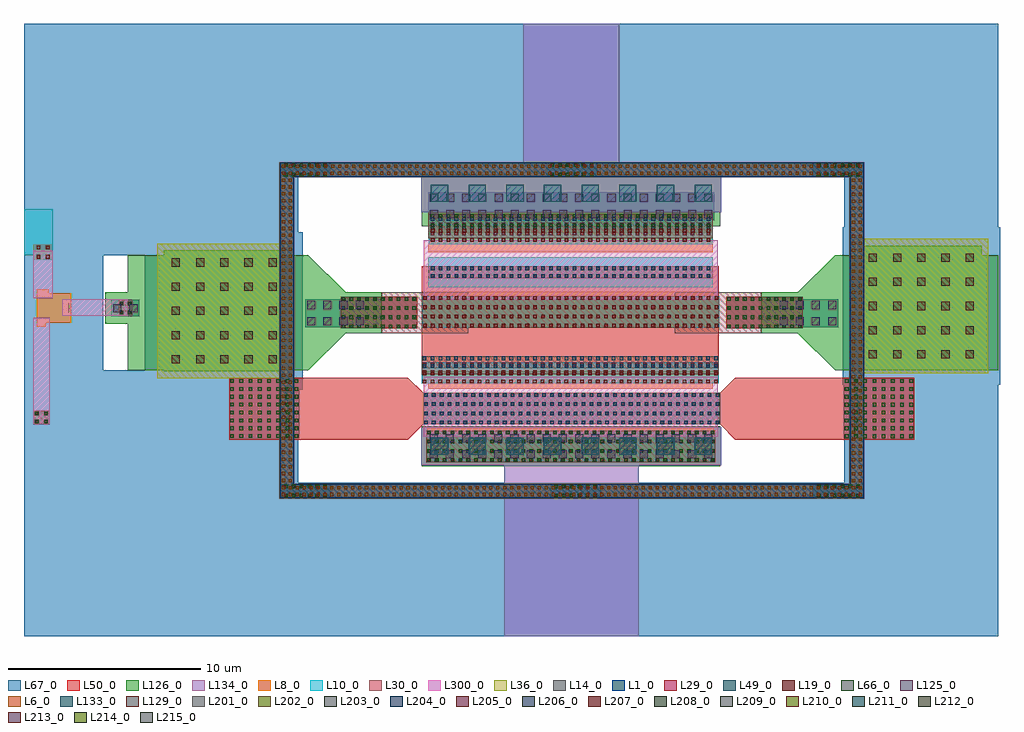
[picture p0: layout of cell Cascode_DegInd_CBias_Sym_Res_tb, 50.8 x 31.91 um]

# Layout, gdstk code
import gdstk
lib = gdstk.Library(unit=1e-6, precision=1e-09)
def R(c, l, rs):  # rectangles x0, y0, x1, y1
    for r in rs: c.add(gdstk.rectangle(r[:2], r[2:], *l))
def A(c, l, x, y, w, h, nx, ny, dx, dy):  # array of equal rectangles
    R(c, l, [(x+i*dx, y+j*dy, x+i*dx+w, y+j*dy+h) for i in range(nx) for j in range(ny)])
def P(c, l, *ps):  # polygons
    for p in ps: c.add(gdstk.Polygon(p, *l))
L1_0 = (1, 0)
L6_0 = (6, 0)
L8_0 = (8, 0)
L10_0 = (10, 0)
L14_0 = (14, 0)
L19_0 = (19, 0)
L29_0 = (29, 0)
L30_0 = (30, 0)
L36_0 = (36, 0)
L49_0 = (49, 0)
L50_0 = (50, 0)
L66_0 = (66, 0)
L67_0 = (67, 0)
L125_0 = (125, 0)
L126_0 = (126, 0)
L129_0 = (129, 0)
L133_0 = (133, 0)
L134_0 = (134, 0)
L201_0 = (201, 0)
L202_0 = (202, 0)
L203_0 = (203, 0)
L204_0 = (204, 0)
L205_0 = (205, 0)
L206_0 = (206, 0)
L207_0 = (207, 0)
L208_0 = (208, 0)
L209_0 = (209, 0)
L210_0 = (210, 0)
L211_0 = (211, 0)
L212_0 = (212, 0)
L213_0 = (213, 0)
L214_0 = (214, 0)
L215_0 = (215, 0)
L300_0 = (300, 0)

cascode_degind_cbias_sym = lib.new_cell('Cascode_DegInd_CBias_Sym_Res_tb')
P(cascode_degind_cbias_sym, L1_0, [(-15.88,-4.065),(-15.88,12.66),(-15.16,12.66),(-15.16,-3.345),(13.79,-3.345),(13.79,12.66),(-15.88,12.66),(-15.88,13.38),(14.51,13.38),(14.51,-4.065)])
A(cascode_degind_cbias_sym, L6_0, -15.78, -3.965, 0.16, 0.16, 54, 1, 0.36, 0)
A(cascode_degind_cbias_sym, L6_0, 3.665, -3.965, 0.16, 0.16, 30, 1, 0.365, 0)
A(cascode_degind_cbias_sym, L6_0, -15.42, -3.605, 0.16, 0.16, 52, 1, 0.36, 0)
A(cascode_degind_cbias_sym, L6_0, 3.305, -3.605, 0.16, 0.16, 30, 1, 0.365, 0)
A(cascode_degind_cbias_sym, L6_0, 14.25, -3.605, 0.16, 0.16, 1, 14, 0, 0.36)
A(cascode_degind_cbias_sym, L6_0, -15.78, -3.6, 0.16, 0.16, 1, 33, 0, 0.365)
A(cascode_degind_cbias_sym, L6_0, 13.89, -3.245, 0.16, 0.16, 1, 12, 0, 0.36)
A(cascode_degind_cbias_sym, L6_0, -15.42, -3.24, 0.16, 0.16, 1, 33, 0, 0.365)
A(cascode_degind_cbias_sym, L6_0, 13.89, 1.08, 0.16, 0.16, 1, 32, 0, 0.365)
A(cascode_degind_cbias_sym, L6_0, 14.25, 1.44, 0.16, 0.16, 1, 32, 0, 0.365)
A(cascode_degind_cbias_sym, L6_0, -15.78, 8.44, 0.16, 0.16, 1, 13, 0, 0.36)
A(cascode_degind_cbias_sym, L6_0, -15.42, 8.8, 0.16, 0.16, 1, 11, 0, 0.36)
A(cascode_degind_cbias_sym, L6_0, -15.42, 12.76, 0.16, 0.16, 38, 1, 0.365, 0)
A(cascode_degind_cbias_sym, L6_0, -1.555, 12.76, 0.16, 0.16, 3, 1, 0.36, 0)
A(cascode_degind_cbias_sym, L6_0, -0.465, 12.76, 0.16, 0.16, 25, 1, 0.37, 0)
A(cascode_degind_cbias_sym, L6_0, 8.78, 12.76, 0.16, 0.16, 15, 1, 0.365, 0)
A(cascode_degind_cbias_sym, L6_0, -15.78, 13.12, 0.16, 0.16, 38, 1, 0.365, 0)
A(cascode_degind_cbias_sym, L6_0, -1.915, 13.12, 0.16, 0.16, 4, 1, 0.36, 0)
A(cascode_degind_cbias_sym, L6_0, -0.465, 13.12, 0.16, 0.16, 24, 1, 0.37, 0)
A(cascode_degind_cbias_sym, L6_0, 8.41, 13.12, 0.16, 0.16, 17, 1, 0.365, 0)
R(cascode_degind_cbias_sym, L8_0, [(-28.73,-0.225,-27.87,0.475), (-24.275,5.39,-23.575,6.255)])
P(cascode_degind_cbias_sym, L8_0, [(-8.275,-2.2),(-8.275,-0.55),(-8.205,-0.55),(-8.205,-0.43),(6.695,-0.43),(6.695,-0.55),(6.775,-0.55),(6.775,-2.2)],
  [(-8.155,1.61),(-8.155,1.9),(-8.505,1.9),(-8.505,2.52),(6.955,2.52),(6.955,1.9),(6.645,1.9),(6.645,1.61)],
  [(-8.485,4.795),(-8.485,6.445),(-8.205,6.445),(-8.205,6.68),(6.695,6.68),(6.695,6.445),(6.975,6.445),(6.975,4.795)],
  [(-28.53,4.845),(-28.53,6.79),(-27.915,6.79),(-27.915,6.59),(-26.745,6.59),(-26.745,5.05),(-28.07,5.05),(-28.07,4.845)],
  [(-28.53,8.335),(-28.53,8.34),(-28.715,8.34),(-28.715,9.12),(-27.705,9.12),(-27.705,8.34),(-27.915,8.34),(-27.915,8.335)],
  [(-8.155,8.72),(-8.155,9.16),(-8.15,9.16),(-8.15,10.08),(6.64,10.08),(6.64,9.16),(6.645,9.16),(6.645,8.72)],
  [(-15.88,-4.065),(-15.88,12.66),(-15.16,12.66),(-15.16,-3.345),(13.79,-3.345),(13.79,12.65),(11.86,12.65),(11.86,12.66),(-15.88,12.66),(-15.88,13.38),(14.51,13.38),(14.51,-4.065)])
R(cascode_degind_cbias_sym, L10_0, [(-15.88,-4.065,-13.23,-3.345), (-1.82,-4.065,0.83,-3.345), (11.86,-4.065,14.51,-3.345), (-8.275,-2.195,6.775,-0.555), (-8.43,-0.24,7.03,1.4), (-28.73,-0.225,-27.87,0.475), (-8.485,4.8,6.975,6.44), (-24.275,5.39,-23.575,6.255), (-8.155,6.915,6.645,8.47), (11.86,12.65,14.51,13.37), (-15.88,12.66,-13.23,13.38), (-2.02,12.66,0.63,13.38)])
P(cascode_degind_cbias_sym, L10_0, [(-8.505,1.905),(-8.505,2.515),(-8.5,2.515),(-8.5,2.99),(6.96,2.99),(6.96,2.38),(6.955,2.38),(6.955,1.905)],
  [(-8.15,9.13),(-8.15,9.46),(-8.155,9.46),(-8.155,10.41),(6.635,10.41),(6.635,10.08),(6.64,10.08),(6.64,9.13)],
  [(-28.715,8.34),(-28.715,8.57),(-29.205,8.57),(-29.205,10.97),(-27.705,10.97),(-27.705,8.34)])
P(cascode_degind_cbias_sym, L14_0, [(-15.91,-4.095),(-15.91,12.63),(-15.13,12.63),(-15.13,-3.315),(13.76,-3.315),(13.76,12.63),(-15.91,12.63),(-15.91,13.41),(14.54,13.41),(14.54,-4.095)])
A(cascode_degind_cbias_sym, L19_0, -15.675, -4.04, 0.19, 0.19, 6, 2, 0.41, 0.48)
A(cascode_degind_cbias_sym, L19_0, -1.615, -4.04, 0.19, 0.19, 6, 2, 0.41, 0.48)
A(cascode_degind_cbias_sym, L19_0, 12.065, -4.04, 0.19, 0.19, 6, 2, 0.41, 0.48)
A(cascode_degind_cbias_sym, L19_0, -8.225, -2.19, 0.19, 0.19, 37, 4, 0.41, 0.48)
A(cascode_degind_cbias_sym, L19_0, -8.455, 1.91, 0.19, 0.19, 38, 2, 0.41, 0.41)
A(cascode_degind_cbias_sym, L19_0, -8.435, 4.805, 0.19, 0.19, 38, 4, 0.41, 0.48)
A(cascode_degind_cbias_sym, L19_0, -8.025, 9.27, 0.19, 0.19, 36, 2, 0.41, 0.48)
A(cascode_degind_cbias_sym, L19_0, 12.065, 12.675, 0.19, 0.19, 6, 2, 0.41, 0.48)
A(cascode_degind_cbias_sym, L19_0, -15.675, 12.685, 0.19, 0.19, 6, 2, 0.41, 0.48)
A(cascode_degind_cbias_sym, L19_0, -1.815, 12.685, 0.19, 0.19, 6, 2, 0.41, 0.48)
R(cascode_degind_cbias_sym, L19_0, [(-28.635,-0.175,-28.445,0.015), (-28.155,-0.175,-27.965,0.015), (-28.635,0.235,-28.445,0.425), (-28.155,0.235,-27.965,0.425), (-24.225,5.485,-24.035,5.675), (-23.815,5.485,-23.625,5.675), (-24.225,5.965,-24.035,6.155), (-23.815,5.965,-23.625,6.155), (-28.545,8.395,-28.355,8.585), (-28.065,8.395,-27.875,8.585), (-28.545,8.875,-28.355,9.065), (-28.065,8.875,-27.875,9.065)])
A(cascode_degind_cbias_sym, L29_0, -15.675, -4.04, 0.19, 0.19, 6, 2, 0.41, 0.48)
A(cascode_degind_cbias_sym, L29_0, -1.615, -4.04, 0.19, 0.19, 6, 2, 0.41, 0.48)
A(cascode_degind_cbias_sym, L29_0, 12.065, -4.04, 0.19, 0.19, 6, 2, 0.41, 0.48)
A(cascode_degind_cbias_sym, L29_0, -8.225, -2.19, 0.19, 0.19, 37, 4, 0.41, 0.48)
A(cascode_degind_cbias_sym, L29_0, -8.38, -0.235, 0.19, 0.19, 38, 4, 0.41, 0.48)
A(cascode_degind_cbias_sym, L29_0, -8.45, 2.385, 0.19, 0.19, 38, 2, 0.41, 0.41)
A(cascode_degind_cbias_sym, L29_0, -8.435, 4.805, 0.19, 0.19, 38, 4, 0.41, 0.48)
A(cascode_degind_cbias_sym, L29_0, -8.025, 7.385, 0.19, 0.19, 36, 2, 0.41, 0.41)
A(cascode_degind_cbias_sym, L29_0, -8.03, 9.6, 0.19, 0.19, 36, 2, 0.41, 0.48)
A(cascode_degind_cbias_sym, L29_0, 12.065, 12.675, 0.19, 0.19, 6, 2, 0.41, 0.48)
A(cascode_degind_cbias_sym, L29_0, -15.675, 12.685, 0.19, 0.19, 6, 2, 0.41, 0.48)
A(cascode_degind_cbias_sym, L29_0, -1.815, 12.685, 0.19, 0.19, 6, 2, 0.41, 0.48)
R(cascode_degind_cbias_sym, L29_0, [(-28.635,-0.175,-28.445,0.015), (-28.155,-0.175,-27.965,0.015), (-28.635,0.235,-28.445,0.425), (-28.155,0.235,-27.965,0.425), (-24.225,5.485,-24.035,5.675), (-23.815,5.485,-23.625,5.675), (-24.225,5.965,-24.035,6.155), (-23.815,5.965,-23.625,6.155)])
R(cascode_degind_cbias_sym, L30_0, [(-15.88,-4.065,-13.23,-3.345), (-1.82,-4.065,0.83,-3.345), (11.86,-4.065,14.51,-3.345), (-8.275,-2.195,6.775,-0.555), (-8.43,-0.24,7.03,1.4), (-28.73,-0.225,-27.87,0.475), (-8.5,2.38,6.96,3.305), (-24.275,5.39,-23.575,6.255), (-8.15,7.38,6.64,7.99), (-8.155,9.46,6.635,10.7), (11.86,12.65,14.51,13.37), (-15.88,12.66,-13.23,13.38), (-2.02,12.66,0.63,13.38)])
P(cascode_degind_cbias_sym, L30_0, [(-10.58,4.51),(-10.58,4.76),(-12.725,4.76),(-12.725,6.4),(-10.58,6.4),(-10.58,6.63),(-6.07,6.63),(-6.07,6.44),(4.67,6.44),(4.67,6.63),(9.18,6.63),(9.18,6.4),(11.325,6.4),(11.325,4.76),(9.18,4.76),(9.18,4.51),(4.67,4.51),(4.67,4.8),(-6.07,4.8),(-6.07,4.51)])
R(cascode_degind_cbias_sym, L36_0, [(-22.275,2.175,-15.285,9.165), (14.005,2.43,20.995,9.42)])
A(cascode_degind_cbias_sym, L49_0, -15.675, -4.04, 0.19, 0.19, 6, 2, 0.41, 0.48)
A(cascode_degind_cbias_sym, L49_0, -1.615, -4.04, 0.19, 0.19, 6, 2, 0.41, 0.48)
A(cascode_degind_cbias_sym, L49_0, 12.065, -4.04, 0.19, 0.19, 6, 2, 0.41, 0.48)
A(cascode_degind_cbias_sym, L49_0, -8.225, -2.19, 0.19, 0.19, 37, 4, 0.41, 0.48)
A(cascode_degind_cbias_sym, L49_0, -8.38, -0.235, 0.19, 0.19, 38, 4, 0.41, 0.48)
A(cascode_degind_cbias_sym, L49_0, -8.45, 2.7, 0.19, 0.19, 38, 2, 0.41, 0.41)
A(cascode_degind_cbias_sym, L49_0, -12.675, 4.765, 0.19, 0.19, 10, 4, 0.41, 0.48)
A(cascode_degind_cbias_sym, L49_0, 7.395, 4.765, 0.19, 0.19, 10, 4, 0.41, 0.48)
A(cascode_degind_cbias_sym, L49_0, -8.025, 7.385, 0.19, 0.19, 36, 2, 0.41, 0.41)
A(cascode_degind_cbias_sym, L49_0, -8.03, 9.89, 0.19, 0.19, 36, 2, 0.41, 0.48)
A(cascode_degind_cbias_sym, L49_0, 12.065, 12.675, 0.19, 0.19, 6, 2, 0.41, 0.48)
A(cascode_degind_cbias_sym, L49_0, -15.675, 12.685, 0.19, 0.19, 6, 2, 0.41, 0.48)
A(cascode_degind_cbias_sym, L49_0, -1.815, 12.685, 0.19, 0.19, 6, 2, 0.41, 0.48)
R(cascode_degind_cbias_sym, L49_0, [(-28.635,-0.175,-28.445,0.015), (-28.155,-0.175,-27.965,0.015), (-28.635,0.235,-28.445,0.425), (-28.155,0.235,-27.965,0.425), (-24.225,5.485,-24.035,5.675), (-23.815,5.485,-23.625,5.675), (-24.225,5.965,-24.035,6.155), (-23.815,5.965,-23.625,6.155)])
R(cascode_degind_cbias_sym, L50_0, [(-15.88,-4.065,-13.23,-3.345), (-1.82,-4.065,0.83,-3.345), (11.86,-4.065,14.51,-3.345), (-8.275,-2.195,6.775,-0.555), (-28.73,-0.225,-27.87,0.475), (-8.5,2.695,6.96,7.99), (-12.725,4.76,-8.745,6.4), (7.345,4.76,11.325,6.4), (-24.275,5.39,-23.575,6.255), (-8.155,9.75,6.635,10.84), (11.86,12.65,14.51,13.37), (-15.88,12.66,-13.23,13.38), (-2.02,12.66,0.63,13.38)])
P(cascode_degind_cbias_sym, L50_0, [(7.825,-1.035),(7.03,-0.24),(-8.43,-0.24),(-9.22,-1.03),(-18.53,-1.03),(-18.53,2.2),(-9.23,2.2),(-8.43,1.4),(7.03,1.4),(7.825,2.195),(17.13,2.195),(17.13,-1.035)])
A(cascode_degind_cbias_sym, L66_0, -15.675, -4.04, 0.19, 0.19, 6, 2, 0.41, 0.48)
A(cascode_degind_cbias_sym, L66_0, -1.615, -4.04, 0.19, 0.19, 6, 2, 0.41, 0.48)
A(cascode_degind_cbias_sym, L66_0, 12.065, -4.04, 0.19, 0.19, 6, 2, 0.41, 0.48)
A(cascode_degind_cbias_sym, L66_0, -8.225, -2.19, 0.19, 0.19, 37, 4, 0.41, 0.48)
A(cascode_degind_cbias_sym, L66_0, 13.52, -0.945, 0.19, 0.19, 8, 8, 0.48, 0.41)
A(cascode_degind_cbias_sym, L66_0, -18.47, -0.94, 0.19, 0.19, 8, 8, 0.48, 0.41)
A(cascode_degind_cbias_sym, L66_0, -12.675, 4.765, 0.19, 0.19, 10, 4, 0.41, 0.48)
A(cascode_degind_cbias_sym, L66_0, 7.395, 4.765, 0.19, 0.19, 10, 4, 0.41, 0.48)
A(cascode_degind_cbias_sym, L66_0, -8.03, 10.03, 0.19, 0.19, 36, 2, 0.41, 0.48)
A(cascode_degind_cbias_sym, L66_0, 12.065, 12.675, 0.19, 0.19, 6, 2, 0.41, 0.48)
A(cascode_degind_cbias_sym, L66_0, -15.675, 12.685, 0.19, 0.19, 6, 2, 0.41, 0.48)
A(cascode_degind_cbias_sym, L66_0, -1.815, 12.685, 0.19, 0.19, 6, 2, 0.41, 0.48)
R(cascode_degind_cbias_sym, L66_0, [(-28.635,-0.175,-28.445,0.015), (-28.155,-0.175,-27.965,0.015), (-28.635,0.235,-28.445,0.425), (-28.155,0.235,-27.965,0.425), (-24.225,5.485,-24.035,5.675), (-23.815,5.485,-23.625,5.675), (-24.225,5.965,-24.035,6.155), (-23.815,5.965,-23.625,6.155)])
R(cascode_degind_cbias_sym, L67_0, [(-8.275,-2.195,6.775,-0.555), (-24.655,5.39,-23.195,6.255)])
P(cascode_degind_cbias_sym, L67_0, [(-12.725,4.76),(-12.725,4.83),(-14.565,4.83),(-14.565,6.29),(-12.725,6.29),(-12.725,6.4),(-8.745,6.4),(-8.745,4.76)],
  [(7.345,4.76),(7.345,6.4),(11.325,6.4),(11.325,6.29),(13.165,6.29),(13.165,4.83),(11.325,4.83),(11.325,4.76)],
  [(-8.155,9.89),(-8.155,10.4),(-8.175,10.4),(-8.175,11.86),(6.725,11.86),(6.725,10.4),(6.635,10.4),(6.635,9.89)],
  [(-29.185,-11.275),(-29.185,8.57),(-25.08,8.57),(-25.08,2.57),(-22.925,2.57),(-22.925,8.57),(-29.205,8.57),(-29.205,12.63),(-14.925,12.63),(-14.925,9.765),(-14.685,9.765),(-14.685,1.575),(-14.87,1.575),(-14.87,-0.945),(-14.925,-0.945),(-14.925,-3.275),(13.5,-3.275),(13.5,-0.95),(13.47,-0.95),(13.47,1.83),(13.405,1.83),(13.405,10.02),(13.5,10.02),(13.5,12.63),(-29.205,12.63),(-29.205,20.63),(21.5,20.63),(21.5,10.02),(21.595,10.02),(21.595,1.83),(21.5,1.83),(21.5,-11.275)])
A(cascode_degind_cbias_sym, L125_0, -8.085, -2.005, 0.42, 0.42, 18, 2, 0.84, 0.84)
A(cascode_degind_cbias_sym, L125_0, -14.465, 4.93, 0.42, 0.42, 4, 2, 0.84, 0.84)
A(cascode_degind_cbias_sym, L125_0, 10.125, 4.93, 0.42, 0.42, 4, 2, 0.84, 0.84)
A(cascode_degind_cbias_sym, L125_0, -8.075, 10.5, 0.42, 0.42, 18, 2, 0.84, 0.84)
R(cascode_degind_cbias_sym, L125_0, [(-24.555,5.61,-24.135,6.03), (-23.715,5.61,-23.295,6.03)])
P(cascode_degind_cbias_sym, L126_0, [(-8.505,-2.425),(-8.505,-2.325),(-8.525,-2.325),(-8.525,-0.425),(-8.505,-0.425),(-8.505,-0.325),(7.035,-0.325),(7.035,-0.425),(7.095,-0.425),(7.095,-2.325),(7.035,-2.325),(7.035,-2.425)],
  [(-21.93,2.52),(-21.93,2.57),(-23.815,2.57),(-23.815,5),(-24.975,5),(-24.975,6.64),(-23.815,6.64),(-23.815,8.57),(-21.93,8.57),(-21.93,8.82),(-15.63,8.82),(-15.63,8.57),(-14.41,8.57),(-12.47,6.63),(-10.58,6.63),(-10.58,4.51),(-12.47,4.51),(-14.41,2.57),(-15.63,2.57),(-15.63,2.52)],
  [(13.01,2.57),(11.07,4.51),(9.18,4.51),(9.18,6.63),(11.07,6.63),(13.01,8.57),(14.35,8.57),(14.35,9.075),(20.65,9.075),(20.65,8.57),(21.5,8.57),(21.5,2.57)],
  [(-8.495,10.08),(-8.495,10.845),(-8.525,10.845),(-8.525,12.745),(7.095,12.745),(7.095,10.845),(7.045,10.845),(7.045,10.08)])
A(cascode_degind_cbias_sym, L129_0, -21.51, 2.94, 0.42, 0.42, 5, 5, 1.26, 1.26)
A(cascode_degind_cbias_sym, L129_0, 14.77, 3.195, 0.42, 0.42, 5, 5, 1.26, 1.26)
A(cascode_degind_cbias_sym, L133_0, -8.025, -1.825, 0.9, 0.9, 8, 2, 1.96, 13.17)
P(cascode_degind_cbias_sym, L134_0, [(-4.215,-11.275),(-4.215,-2.375),(-8.525,-2.375),(-8.525,-0.375),(7.095,-0.375),(7.095,-2.375),(2.785,-2.375),(2.785,-11.275)],
  [(-8.525,10.795),(-8.525,12.795),(-3.215,12.795),(-3.215,20.63),(1.785,20.63),(1.785,12.795),(7.095,12.795),(7.095,10.795)])
P(cascode_degind_cbias_sym, L201_0, [(-3.215,20.63),(-3.215,20.63),(1.785,20.63),(1.785,20.63)])
P(cascode_degind_cbias_sym, L202_0, [(-4.215,-11.275),(-4.215,-11.275),(2.785,-11.275),(2.785,-11.275)])
P(cascode_degind_cbias_sym, L203_0, [(-29.205,10.97),(-29.205,10.97),(-27.705,10.97),(-27.705,10.97)])
P(cascode_degind_cbias_sym, L204_0, [(-8.205,-0.55),(-8.205,-0.55),(6.695,-0.55),(6.695,-0.55)])
P(cascode_degind_cbias_sym, L205_0, [(-8.155,1.83),(-8.155,1.83),(6.645,1.83),(6.645,1.83)])
P(cascode_degind_cbias_sym, L206_0, [(-7.975,0.582),(-7.975,0.582),(6.465,0.582),(6.465,0.582)])
P(cascode_degind_cbias_sym, L207_0, [(-28.53,8.465),(-28.53,8.465),(-27.915,8.465),(-27.915,8.465)])
P(cascode_degind_cbias_sym, L208_0, [(-28.53,6.66),(-28.53,6.66),(-27.915,6.66),(-27.915,6.66)])
P(cascode_degind_cbias_sym, L209_0, [(-24.145,5.61),(-24.145,6.07),(-24.145,6.07),(-24.145,5.61)])
P(cascode_degind_cbias_sym, L210_0, [(-26.875,5.61),(-26.875,6.07),(-26.875,6.07),(-26.875,5.61)])
P(cascode_degind_cbias_sym, L211_0, [(-8.205,6.56),(-8.205,6.56),(6.695,6.56),(6.695,6.56)])
P(cascode_degind_cbias_sym, L212_0, [(-8.155,8.94),(-8.155,8.94),(6.645,8.94),(6.645,8.94)])
P(cascode_degind_cbias_sym, L213_0, [(-7.975,7.692),(-7.975,7.692),(6.465,7.692),(6.465,7.692)])
P(cascode_degind_cbias_sym, L214_0, [(-28.53,4.975),(-28.53,4.975),(-28.07,4.975),(-28.07,4.975)])
P(cascode_degind_cbias_sym, L215_0, [(-28.53,0.125),(-28.53,0.125),(-28.07,0.125),(-28.07,0.125)])
R(cascode_degind_cbias_sym, L300_0, [(-8.405,-0.87,6.895,2.25), (-28.73,-0.205,-27.87,5.305), (-27.205,5.41,-23.815,6.27), (-8.405,6.24,6.895,9.36), (-28.73,6.33,-27.715,8.795)])

lib.write_gds('Cascode_DegInd_CBias_Sym_Res_tb.gds')
